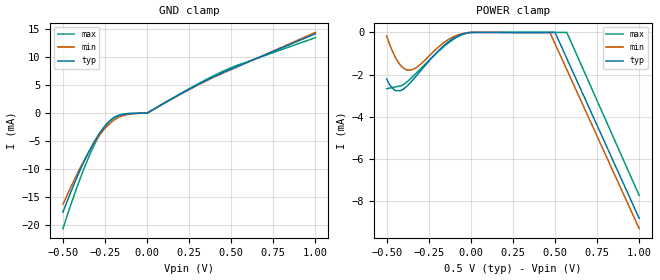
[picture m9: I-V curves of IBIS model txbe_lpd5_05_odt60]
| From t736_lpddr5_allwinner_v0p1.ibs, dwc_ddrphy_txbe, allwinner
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[Model] txbe_lpd5_05_odt60
Model_type   Input
Polarity   Non-Inverting
Enable   Active-High
C_comp   933.561fF   929.338fF   944.309fF
C_comp_pullup   279.966fF   274.898fF   284.436fF
C_comp_pulldown   507.096fF   501.994fF   520.152fF
Vinh = 310.000mV
Vinl = 190.000mV
[Model Spec]
D_overshoot_ampl_h 0.1 NA   NA
D_overshoot_ampl_l 0.1 NA   NA
D_overshoot_area_l 300.000m NA   NA
D_overshoot_area_h 300.000m NA   NA
[Receiver Thresholds]
Vth = 125.000mV
Vth_min = 118.000mV
Vth_max = 143.000mV
Vinh_ac = 60.000mV
Vinh_dc = 60.000mV
Vinl_ac = -60.000mV
Vinl_dc = -60.000mV
Tslew_ac = 5.000ns
Threshold_sensitivity = 0.5
Reference_supply Power_clamp_ref
[Temperature Range]   25.000   125.000   -40.000
[Voltage Range]   500.000mV   470.000mV   570.000mV
[GND Clamp Reference]   0.00V   0.00V   0.00V
[C Comp Corner]
| variable   typ   min   max
C_comp   933.561fF   929.338fF   944.309fF
C_comp_pullup   279.966fF   274.898fF   284.436fF
C_comp_pulldown   507.096fF   501.994fF   520.152fF
[POWER Clamp Reference]   500.000mV   470.000mV   570.000mV
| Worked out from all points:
|   GND clamp passes 1 mA (typ) near -0.20 V on its own axis
|   POWER clamp passes 1 mA (typ) near -0.21 V on its own axis
[GND Clamp]
-500mV    -17.66mA   -16.27mA   -20.6mA
-400mV    -10.31mA   -9.914mA   -11.87mA
-330mV    -5.958mA   -6.092mA   -6.707mA
-290mV    -3.91mA    -4.247mA   -4.283mA
-260mV    -2.638mA   -3.065mA   -2.794mA
-230mV    -1.633mA   -2.083mA   -1.636mA
-200mV    -913uA     -1.319mA   -835.1uA
-130mV    -166.6uA   -333.9uA   -112.6uA
0V        0A         0A         0A
260mV     4.419mA    4.356mA    4.528mA
470mV     7.502mA    7.39mA     7.732mA
1V        14.16mA    14.41mA    13.48mA
[Power Clamp]
-500mV    -2.211mA   -170uA     -2.672mA
-450mV    -2.752mA   -1.158mA   -2.589mA
-420mV    -2.765mA   -1.541mA   -2.539mA
-380mV    -2.551mA   -1.781mA   -2.353mA
-310mV    -1.934mA   -1.587mA   -1.817mA
-180mV    -773.4uA   -609.2uA   -810.8uA
-50mV     -82uA      -59uA      -106uA
20mV      -45.93nA   -395.3nA   -6.664nA
470mV     -1.388uA   -11.34uA   -235.6nA
500mV     -1.488uA   -537.4uA   -253.2nA
570mV     -1.236mA   -1.765mA   -294.8nA
1V        -8.82mA    -9.306mA   -7.731mA
